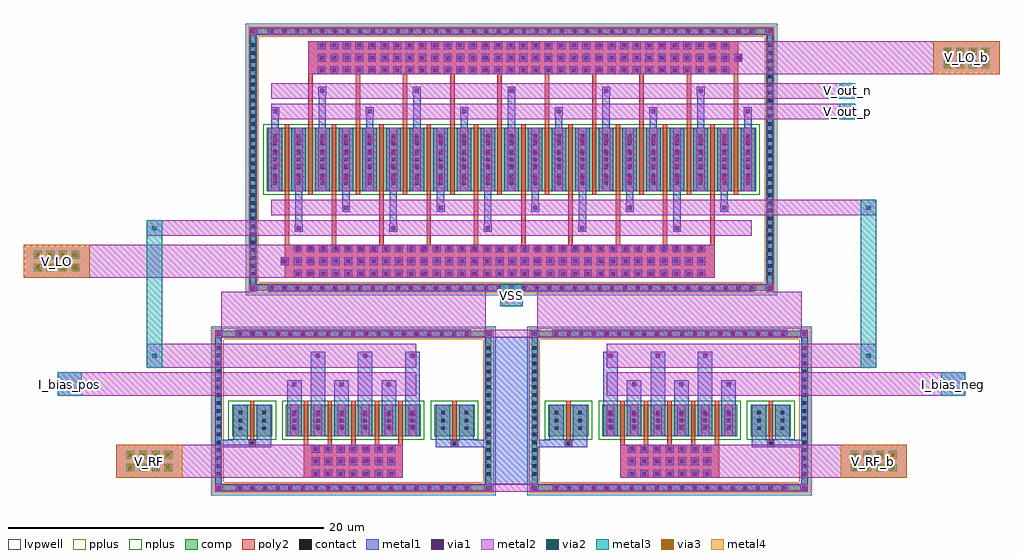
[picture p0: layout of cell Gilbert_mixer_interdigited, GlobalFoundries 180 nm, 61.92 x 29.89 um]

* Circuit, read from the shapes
.subckt Gilbert_mixer_interdigited I_bias_neg I_bias_pos VSS V_LO V_LO_b V_RF V_RF_b V_out_n V_out_p
XM1 VSS VSS VSS VSS nfet_03v3 w=2u l=0.28u m=4
XM2 n1 V_LO V_out_p VSS nfet_03v3 w=4u l=0.28u m=5
XM3 n1 V_RF I_bias_pos VSS nfet_03v3 w=2u l=0.28u m=5
XM4 V_out_n V_LO_b n1 VSS nfet_03v3 w=4u l=0.28u m=5
XM5 n2 V_LO V_out_n VSS nfet_03v3 w=4u l=0.28u m=5
XM6 V_out_p V_LO_b n2 VSS nfet_03v3 w=4u l=0.28u m=5
XM7 I_bias_neg V_RF_b n2 VSS nfet_03v3 w=2u l=0.28u m=5
.ends

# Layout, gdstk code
import gdstk
lib = gdstk.Library(unit=1e-6, precision=1e-09)
def R(c, l, rs):  # rectangles x0, y0, x1, y1
    for r in rs: c.add(gdstk.rectangle(r[:2], r[2:], *l))
def A(c, l, x, y, w, h, nx, ny, dx, dy):  # array of equal rectangles
    R(c, l, [(x+i*dx, y+j*dy, x+i*dx+w, y+j*dy+h) for i in range(nx) for j in range(ny)])
def P(c, l, *ps):  # polygons
    for p in ps: c.add(gdstk.Polygon(p, *l))
comp = (22, 0)
poly2 = (30, 0)
pplus = (31, 0)
nplus = (32, 0)
contact = (33, 0)
metal1 = (34, 0)
via1 = (35, 0)
metal2 = (36, 0)
via2 = (38, 0)
via3 = (40, 0)
metal3 = (42, 0)
metal4 = (46, 0)
lvpwell = (204, 0)

lo_diff_pairs_interdigit = lib.new_cell('LO_diff_pairs_interdigitized')
A(lo_diff_pairs_interdigit, comp, -15.38, -8.32, 0.36, 0.36, 39, 2, 0.8, 16.28)
A(lo_diff_pairs_interdigit, comp, -16.58, -7.43, 0.36, 0.36, 1, 30, 0, 0.5)
A(lo_diff_pairs_interdigit, comp, 16.22, -7.43, 0.36, 0.36, 1, 30, 0, 0.5)
R(lo_diff_pairs_interdigit, comp, [(-15.38,-8.32,15.38,-7.96), (-16.58,-7.43,-16.22,7.43), (16.22,-7.43,16.58,7.43), (-15.53,-2,15.53,2), (-15.38,7.96,15.38,8.32)])
P(lo_diff_pairs_interdigit, comp, [(16.58,8.32),(-16.58,8.32),(-16.58,-7.96),(-16.22,-7.96),(-16.22,7.96),(16.22,7.96),(16.22,-7.96),(-16.22,-7.96),(-16.58,-7.96),(-16.58,-8.32),(16.58,-8.32)])
A(lo_diff_pairs_interdigit, poly2, -13.73, -7.43, 0.36, 0.36, 33, 3, 0.8, 0.8)
A(lo_diff_pairs_interdigit, poly2, -14.39, -5.4, 0.28, 3.16, 10, 1, 3, 0)
A(lo_diff_pairs_interdigit, poly2, -14.39, -2.24, 0.28, 4.48, 20, 1, 1.5, 0)
A(lo_diff_pairs_interdigit, poly2, -12.89, 2.24, 0.28, 3.16, 10, 1, 3, 0)
A(lo_diff_pairs_interdigit, poly2, -12.23, 5.47, 0.36, 0.36, 33, 3, 0.8, 0.8)
R(lo_diff_pairs_interdigit, poly2, [(-14.39,-7.5,12.89,-5.4), (-12.89,5.4,14.39,7.5)])
P(lo_diff_pairs_interdigit, pplus, [(16.74,8.48),(-16.74,8.48),(-16.74,-7.8),(-16.06,-7.8),(-16.06,7.8),(16.06,7.8),(16.06,-7.8),(-16.06,-7.8),(-16.74,-7.8),(-16.74,-8.48),(16.74,-8.48)])
R(lo_diff_pairs_interdigit, nplus, [(-15.76,-2.23,15.76,2.23)])
A(lo_diff_pairs_interdigit, contact, -15.31, -8.25, 0.22, 0.22, 39, 2, 0.8, 16.28)
A(lo_diff_pairs_interdigit, contact, -16.51, -7.36, 0.22, 0.22, 1, 30, 0, 0.5)
A(lo_diff_pairs_interdigit, contact, -13.66, -7.36, 0.22, 0.22, 33, 3, 0.8, 0.8)
A(lo_diff_pairs_interdigit, contact, 16.29, -7.36, 0.22, 0.22, 1, 30, 0, 0.5)
A(lo_diff_pairs_interdigit, contact, -15.11, -1.61, 0.22, 0.22, 21, 7, 1.5, 0.5)
A(lo_diff_pairs_interdigit, contact, -12.16, 5.54, 0.22, 0.22, 33, 3, 0.8, 0.8)
A(lo_diff_pairs_interdigit, metal1, -15.45, -8.39, 0.5, 0.5, 39, 2, 0.8, 16.28)
A(lo_diff_pairs_interdigit, metal1, -13.8, -7.5, 0.5, 0.5, 33, 3, 0.8, 0.8)
A(lo_diff_pairs_interdigit, metal1, -16.63, -7.48, 0.46, 0.46, 1, 30, 0, 0.5)
A(lo_diff_pairs_interdigit, metal1, 16.17, -7.48, 0.46, 0.46, 1, 30, 0, 0.5)
A(lo_diff_pairs_interdigit, metal1, -13.75, -4.6, 0.5, 0.5, 5, 1, 6, 0)
A(lo_diff_pairs_interdigit, metal1, -13.73, -4.1, 0.46, 2.1, 5, 1, 6, 0)
A(lo_diff_pairs_interdigit, metal1, -10.75, -3.3, 0.5, 0.5, 5, 1, 6, 0)
A(lo_diff_pairs_interdigit, metal1, -10.73, -2.8, 0.46, 0.8, 5, 1, 6, 0)
A(lo_diff_pairs_interdigit, metal1, -15.46, -2, 0.92, 4, 21, 1, 1.5, 0)
A(lo_diff_pairs_interdigit, metal1, -15.23, -1.73, 0.46, 0.46, 21, 7, 1.5, 0.5)
A(lo_diff_pairs_interdigit, metal1, -15.25, -1.45, 0.5, 0.5, 21, 4, 1.5, 0.8)
A(lo_diff_pairs_interdigit, metal1, -15.25, -1.45, 0.5, 2.9, 21, 1, 1.5, 0)
A(lo_diff_pairs_interdigit, metal1, -15.23, 2, 0.46, 1.3, 6, 1, 6, 0)
A(lo_diff_pairs_interdigit, metal1, -12.23, 2, 0.46, 2.6, 5, 1, 6, 0)
A(lo_diff_pairs_interdigit, metal1, -15.25, 2.8, 0.5, 0.5, 6, 1, 6, 0)
A(lo_diff_pairs_interdigit, metal1, -12.25, 4.1, 0.5, 0.5, 5, 1, 6, 0)
A(lo_diff_pairs_interdigit, metal1, -12.3, 5.4, 0.5, 0.5, 33, 3, 0.8, 0.8)
R(lo_diff_pairs_interdigit, metal1, [(-16.63,-8.39,-16.13,-7.89), (-16.63,-8.39,-16.13,-7.89), (-16.63,-8.39,-16.17,-7.96), (-15.45,-8.39,15.45,-7.89), (16.13,-8.39,16.63,-7.89), (16.13,-8.39,16.63,-7.89), (16.17,-8.39,16.63,-7.96), (-16.63,-7.96,-16.17,7.96), (16.17,-7.96,16.63,7.96), (-16.63,7.89,-16.13,8.39), (-16.63,7.89,-16.13,8.39), (-15.45,7.89,15.45,8.39), (16.13,7.89,16.63,8.39), (16.13,7.89,16.63,8.39), (-16.63,7.96,-16.17,8.39), (16.17,7.96,16.63,8.39)])
A(lo_diff_pairs_interdigit, via1, -15.33, -8.27, 0.26, 0.26, 39, 2, 0.8, 16.28)
A(lo_diff_pairs_interdigit, via1, -13.68, -7.38, 0.26, 0.26, 33, 3, 0.8, 0.8)
A(lo_diff_pairs_interdigit, via1, -13.63, -4.48, 0.26, 0.26, 5, 1, 6, 0)
A(lo_diff_pairs_interdigit, via1, -10.63, -3.18, 0.26, 0.26, 5, 1, 6, 0)
A(lo_diff_pairs_interdigit, via1, -15.13, -1.33, 0.26, 0.26, 21, 4, 1.5, 0.8)
A(lo_diff_pairs_interdigit, via1, -15.13, 2.92, 0.26, 0.26, 6, 1, 6, 0)
A(lo_diff_pairs_interdigit, via1, -12.13, 4.22, 0.26, 0.26, 5, 1, 6, 0)
A(lo_diff_pairs_interdigit, via1, -12.18, 5.52, 0.26, 0.26, 33, 3, 0.8, 0.8)
R(lo_diff_pairs_interdigit, via1, [(-16.51,-8.27,-16.25,-8.01), (16.25,-8.27,16.51,-8.01), (-16.51,8.01,-16.25,8.27), (16.25,8.01,16.51,8.27)])
A(lo_diff_pairs_interdigit, metal2, -15.45, -8.39, 0.5, 0.5, 39, 2, 0.8, 16.28)
A(lo_diff_pairs_interdigit, metal2, -13.8, -7.5, 0.5, 0.5, 33, 3, 0.8, 0.8)
A(lo_diff_pairs_interdigit, metal2, -13.75, -4.6, 0.5, 0.5, 5, 1, 6, 0)
A(lo_diff_pairs_interdigit, metal2, -10.75, -3.3, 0.5, 0.5, 5, 1, 6, 0)
A(lo_diff_pairs_interdigit, metal2, -15.25, -2, 0.5, 4, 21, 1, 1.5, 0)
A(lo_diff_pairs_interdigit, metal2, -15.25, -1.45, 0.5, 0.5, 21, 4, 1.5, 0.8)
A(lo_diff_pairs_interdigit, metal2, -15.25, 2.8, 0.5, 0.5, 6, 1, 6, 0)
A(lo_diff_pairs_interdigit, metal2, -12.25, 4.1, 0.5, 0.5, 5, 1, 6, 0)
A(lo_diff_pairs_interdigit, metal2, -12.3, 5.4, 0.5, 0.5, 33, 3, 0.8, 0.8)
R(lo_diff_pairs_interdigit, metal2, [(-16.63,-8.39,-16.13,-7.89), (-16.63,-8.39,-16.13,-7.89), (-16.63,-8.39,-16.22,-7.89), (-16.22,-8.39,16.22,-7.89), (16.13,-8.39,16.63,-7.89), (16.13,-8.39,16.63,-7.89), (16.22,-8.39,16.63,-7.89), (-14.39,-7.5,12.89,-5.4), (-15.25,-4.85,15.25,-3.85), (-15.25,-3.55,15.25,-2.55), (-15.25,2.55,15.25,3.55), (-15.25,3.85,15.25,4.85), (-12.89,5.4,14.39,7.5), (-16.63,7.89,-16.13,8.39), (-16.63,7.89,-16.13,8.39), (-16.63,7.89,-16.22,8.39), (-16.22,7.89,16.22,8.39), (16.13,7.89,16.63,8.39), (16.13,7.89,16.63,8.39), (16.22,7.89,16.63,8.39)])
R(lo_diff_pairs_interdigit, lvpwell, [(-16.86,-8.6,16.86,8.6)])

rf_diff_pair_1 = lib.new_cell('RF_diff_pair$1')
A(rf_diff_pair_1, comp, -7.38, -5.065, 0.36, 0.36, 19, 2, 0.8, 9.77)
A(rf_diff_pair_1, comp, 12.68, -5.065, 0.36, 0.36, 19, 2, 0.8, 9.77)
A(rf_diff_pair_1, comp, -8.75, -4.18, 0.36, 0.36, 1, 17, 0, 0.5)
A(rf_diff_pair_1, comp, 8.39, -4.18, 0.36, 0.36, 1, 17, 0, 0.5)
A(rf_diff_pair_1, comp, 11.31, -4.18, 0.36, 0.36, 1, 17, 0, 0.5)
A(rf_diff_pair_1, comp, 28.45, -4.18, 0.36, 0.36, 1, 17, 0, 0.5)
R(rf_diff_pair_1, comp, [(-7.38,-5.065,7.38,-4.705), (12.68,-5.065,27.44,-4.705), (-8.75,-4.18,-8.39,4.18), (8.39,-4.18,8.75,4.18), (11.31,-4.18,11.67,4.18), (28.45,-4.18,28.81,4.18), (-7.7,-1.605,-5.14,0.395), (-4.28,-1.605,4.28,0.395), (5.14,-1.605,7.7,0.395), (12.36,-1.605,14.92,0.395), (15.78,-1.605,24.34,0.395), (25.2,-1.605,27.76,0.395), (-7.38,4.705,7.38,5.065), (12.68,4.705,27.44,5.065)])
P(rf_diff_pair_1, comp, [(8.75,5.065),(-8.75,5.065),(-8.75,-4.705),(-8.39,-4.705),(-8.39,4.705),(8.39,4.705),(8.39,-4.705),(-8.39,-4.705),(-8.75,-4.705),(-8.75,-5.065),(8.75,-5.065)],
  [(11.31,5.065),(28.81,5.065),(28.81,-4.705),(28.45,-4.705),(28.45,4.705),(11.67,4.705),(11.67,-4.705),(28.45,-4.705),(28.81,-4.705),(28.81,-5.065),(11.31,-5.065)])
A(rf_diff_pair_1, poly2, -2.58, -4.175, 0.36, 0.36, 7, 3, 0.8, 0.8)
A(rf_diff_pair_1, poly2, 17.48, -4.175, 0.36, 0.36, 7, 3, 0.8, 0.8)
A(rf_diff_pair_1, poly2, -3.14, -2.145, 0.28, 0.3, 5, 1, 1.5, 0)
A(rf_diff_pair_1, poly2, 16.92, -2.145, 0.28, 0.3, 5, 1, 1.5, 0)
A(rf_diff_pair_1, poly2, -3.14, -1.845, 0.28, 2.48, 5, 1, 1.5, 0)
A(rf_diff_pair_1, poly2, 16.92, -1.845, 0.28, 2.48, 5, 1, 1.5, 0)
R(rf_diff_pair_1, poly2, [(-3.14,-4.245,3.14,-2.145), (16.92,-4.245,23.2,-2.145), (-6.65,-2.305,-6.19,-1.845), (6.19,-2.305,6.65,-1.845), (13.41,-2.305,13.87,-1.845), (26.25,-2.305,26.71,-1.845), (-6.6,-2.255,-6.24,-1.895), (6.24,-2.255,6.6,-1.895), (13.46,-2.255,13.82,-1.895), (26.3,-2.255,26.66,-1.895), (-6.56,-1.845,-6.28,0.635), (6.28,-1.845,6.56,0.635), (13.5,-1.845,13.78,0.635), (26.34,-1.845,26.62,0.635)])
P(rf_diff_pair_1, pplus, [(8.91,5.225),(-8.91,5.225),(-8.91,-4.545),(-8.23,-4.545),(-8.23,4.545),(8.23,4.545),(8.23,-4.545),(-8.23,-4.545),(-8.91,-4.545),(-8.91,-5.225),(8.91,-5.225)],
  [(11.15,5.225),(28.97,5.225),(28.97,-4.545),(28.29,-4.545),(28.29,4.545),(11.83,4.545),(11.83,-4.545),(28.29,-4.545),(28.97,-4.545),(28.97,-5.225),(11.15,-5.225)])
R(rf_diff_pair_1, nplus, [(-7.93,-1.835,-4.91,0.625), (-4.51,-1.835,4.51,0.625), (4.91,-1.835,7.93,0.625), (12.13,-1.835,15.15,0.625), (15.55,-1.835,24.57,0.625), (24.97,-1.835,27.99,0.625)])
A(rf_diff_pair_1, contact, -7.31, -4.995, 0.22, 0.22, 19, 2, 0.8, 9.77)
A(rf_diff_pair_1, contact, 12.75, -4.995, 0.22, 0.22, 19, 2, 0.8, 9.77)
A(rf_diff_pair_1, contact, -8.68, -4.11, 0.22, 0.22, 1, 17, 0, 0.5)
A(rf_diff_pair_1, contact, 8.46, -4.11, 0.22, 0.22, 1, 17, 0, 0.5)
A(rf_diff_pair_1, contact, 11.38, -4.11, 0.22, 0.22, 1, 17, 0, 0.5)
A(rf_diff_pair_1, contact, 28.52, -4.11, 0.22, 0.22, 1, 17, 0, 0.5)
A(rf_diff_pair_1, contact, -2.51, -4.105, 0.22, 0.22, 7, 3, 0.8, 0.8)
A(rf_diff_pair_1, contact, 17.55, -4.105, 0.22, 0.22, 7, 3, 0.8, 0.8)
A(rf_diff_pair_1, contact, -7.28, -1.215, 0.22, 0.22, 1, 3, 0, 0.5)
A(rf_diff_pair_1, contact, -5.78, -1.215, 0.22, 0.22, 1, 3, 0, 0.5)
A(rf_diff_pair_1, contact, -3.86, -1.215, 0.22, 0.22, 6, 3, 1.5, 0.5)
A(rf_diff_pair_1, contact, 5.56, -1.215, 0.22, 0.22, 1, 3, 0, 0.5)
A(rf_diff_pair_1, contact, 7.06, -1.215, 0.22, 0.22, 1, 3, 0, 0.5)
A(rf_diff_pair_1, contact, 12.78, -1.215, 0.22, 0.22, 1, 3, 0, 0.5)
A(rf_diff_pair_1, contact, 14.28, -1.215, 0.22, 0.22, 1, 3, 0, 0.5)
A(rf_diff_pair_1, contact, 16.2, -1.215, 0.22, 0.22, 6, 3, 1.5, 0.5)
A(rf_diff_pair_1, contact, 25.62, -1.215, 0.22, 0.22, 1, 3, 0, 0.5)
A(rf_diff_pair_1, contact, 27.12, -1.215, 0.22, 0.22, 1, 3, 0, 0.5)
R(rf_diff_pair_1, contact, [(-6.53,-2.185,-6.31,-1.965), (6.31,-2.185,6.53,-1.965), (13.53,-2.185,13.75,-1.965), (26.37,-2.185,26.59,-1.965)])
A(rf_diff_pair_1, metal1, -7.45, -5.135, 0.5, 0.5, 19, 2, 0.8, 9.77)
A(rf_diff_pair_1, metal1, 12.61, -5.135, 0.5, 0.5, 19, 2, 0.8, 9.77)
A(rf_diff_pair_1, metal1, -2.65, -4.245, 0.5, 0.5, 7, 3, 0.8, 0.8)
A(rf_diff_pair_1, metal1, 17.41, -4.245, 0.5, 0.5, 7, 3, 0.8, 0.8)
A(rf_diff_pair_1, metal1, -8.8, -4.23, 0.46, 0.46, 1, 17, 0, 0.5)
A(rf_diff_pair_1, metal1, 8.34, -4.23, 0.46, 0.46, 1, 17, 0, 0.5)
A(rf_diff_pair_1, metal1, 11.26, -4.23, 0.46, 0.46, 1, 17, 0, 0.5)
A(rf_diff_pair_1, metal1, 28.4, -4.23, 0.46, 0.46, 1, 17, 0, 0.5)
A(rf_diff_pair_1, metal1, -4.21, -1.605, 0.92, 2, 6, 1, 1.5, 0)
A(rf_diff_pair_1, metal1, 15.85, -1.605, 0.92, 2, 6, 1, 1.5, 0)
A(rf_diff_pair_1, metal1, -7.4, -1.335, 0.46, 0.46, 1, 3, 0, 0.5)
A(rf_diff_pair_1, metal1, -5.9, -1.335, 0.46, 0.46, 1, 3, 0, 0.5)
A(rf_diff_pair_1, metal1, -3.98, -1.335, 0.46, 0.46, 6, 3, 1.5, 0.5)
A(rf_diff_pair_1, metal1, 5.44, -1.335, 0.46, 0.46, 1, 3, 0, 0.5)
A(rf_diff_pair_1, metal1, 6.94, -1.335, 0.46, 0.46, 1, 3, 0, 0.5)
A(rf_diff_pair_1, metal1, 12.66, -1.335, 0.46, 0.46, 1, 3, 0, 0.5)
A(rf_diff_pair_1, metal1, 14.16, -1.335, 0.46, 0.46, 1, 3, 0, 0.5)
A(rf_diff_pair_1, metal1, 16.08, -1.335, 0.46, 0.46, 6, 3, 1.5, 0.5)
A(rf_diff_pair_1, metal1, 25.5, -1.335, 0.46, 0.46, 1, 3, 0, 0.5)
A(rf_diff_pair_1, metal1, 27, -1.335, 0.46, 0.46, 1, 3, 0, 0.5)
A(rf_diff_pair_1, metal1, -4, -1.255, 0.5, 0.5, 6, 2, 1.5, 0.8)
A(rf_diff_pair_1, metal1, -4, -1.255, 0.5, 1.3, 6, 1, 1.5, 0)
A(rf_diff_pair_1, metal1, 16.06, -1.255, 0.5, 0.5, 6, 2, 1.5, 0.8)
A(rf_diff_pair_1, metal1, 16.06, -1.255, 0.5, 1.3, 6, 1, 1.5, 0)
A(rf_diff_pair_1, metal1, -4.21, 0.395, 0.92, 1.55, 3, 1, 3, 0)
A(rf_diff_pair_1, metal1, -2.71, 0.395, 0.92, 3.35, 3, 1, 3, 0)
A(rf_diff_pair_1, metal1, 15.85, 0.395, 0.92, 3.35, 3, 1, 3, 0)
A(rf_diff_pair_1, metal1, 17.35, 0.395, 0.92, 1.55, 3, 1, 3, 0)
A(rf_diff_pair_1, metal1, -4, 1.445, 0.5, 0.5, 3, 1, 3, 0)
A(rf_diff_pair_1, metal1, 17.56, 1.445, 0.5, 0.5, 3, 1, 3, 0)
A(rf_diff_pair_1, metal1, -2.5, 3.245, 0.5, 0.5, 3, 1, 3, 0)
A(rf_diff_pair_1, metal1, 16.06, 3.245, 0.5, 0.5, 3, 1, 3, 0)
R(rf_diff_pair_1, metal1, [(-8.8,-5.135,-8.3,-4.635), (-8.8,-5.135,-8.3,-4.635), (-8.8,-5.135,-8.34,-4.705), (-7.45,-5.135,7.45,-4.635), (8.3,-5.135,8.8,-4.635), (8.3,-5.135,8.8,-4.635), (8.34,-5.135,8.8,-4.705), (11.26,-5.135,11.76,-4.635), (11.26,-5.135,11.76,-4.635), (11.26,-5.135,11.72,-4.705), (12.61,-5.135,27.51,-4.635), (28.36,-5.135,28.86,-4.635), (28.36,-5.135,28.86,-4.635), (28.4,-5.135,28.86,-4.705), (-8.8,-4.705,-8.34,4.705), (8.34,-4.705,8.8,4.705), (11.26,-4.705,11.72,4.705), (28.4,-4.705,28.86,4.705), (-8.8,-2.305,-6.65,-1.845), (-7.63,-2.305,-6.65,-1.845), (-7.63,-2.305,-6.71,-1.605), (-6.65,-2.305,-6.19,-1.845), (-6.19,-2.305,-5.21,-1.845), (-6.13,-2.305,-5.21,-1.605), (5.21,-2.305,6.19,-1.845), (5.21,-2.305,6.13,-1.605), (6.19,-2.305,6.65,-1.845), (6.19,-2.305,8.8,-1.845), (6.65,-2.305,7.63,-1.845), (6.71,-2.305,7.63,-1.605), (11.26,-2.305,13.87,-1.845), (12.43,-2.305,13.41,-1.845), (12.43,-2.305,13.35,-1.605), (13.41,-2.305,13.87,-1.845), (13.87,-2.305,14.85,-1.845), (13.93,-2.305,14.85,-1.605), (25.27,-2.305,26.25,-1.845), (25.27,-2.305,26.19,-1.605), (26.25,-2.305,26.71,-1.845), (26.71,-2.305,27.69,-1.845), (26.71,-2.305,28.86,-1.845), (26.77,-2.305,27.69,-1.605), (-7.63,-1.605,-6.71,0.395), (-6.13,-1.605,-5.21,0.395), (5.21,-1.605,6.13,0.395), (6.71,-1.605,7.63,0.395), (12.43,-1.605,13.35,0.395), (13.93,-1.605,14.85,0.395), (25.27,-1.605,26.19,0.395), (26.77,-1.605,27.69,0.395), (-8.8,4.635,-8.3,5.135), (-8.8,4.635,-8.3,5.135), (-7.45,4.635,7.45,5.135), (8.3,4.635,8.8,5.135), (8.3,4.635,8.8,5.135), (11.26,4.635,11.76,5.135), (11.26,4.635,11.76,5.135), (12.61,4.635,27.51,5.135), (28.36,4.635,28.86,5.135), (28.36,4.635,28.86,5.135), (-8.8,4.705,-8.34,5.135), (8.34,4.705,8.8,5.135), (11.26,4.705,11.72,5.135), (28.4,4.705,28.86,5.135)])
A(rf_diff_pair_1, via1, -7.33, -5.015, 0.26, 0.26, 19, 2, 0.8, 9.77)
A(rf_diff_pair_1, via1, 12.73, -5.015, 0.26, 0.26, 19, 2, 0.8, 9.77)
A(rf_diff_pair_1, via1, -2.53, -4.125, 0.26, 0.26, 7, 3, 0.8, 0.8)
A(rf_diff_pair_1, via1, 17.53, -4.125, 0.26, 0.26, 7, 3, 0.8, 0.8)
A(rf_diff_pair_1, via1, -3.88, -1.135, 0.26, 0.26, 6, 2, 1.5, 0.8)
A(rf_diff_pair_1, via1, 16.18, -1.135, 0.26, 0.26, 6, 2, 1.5, 0.8)
A(rf_diff_pair_1, via1, -3.88, 1.565, 0.26, 0.26, 3, 1, 3, 0)
A(rf_diff_pair_1, via1, 17.68, 1.565, 0.26, 0.26, 3, 1, 3, 0)
A(rf_diff_pair_1, via1, -2.38, 3.365, 0.26, 0.26, 3, 1, 3, 0)
A(rf_diff_pair_1, via1, 16.18, 3.365, 0.26, 0.26, 3, 1, 3, 0)
R(rf_diff_pair_1, via1, [(-8.68,-5.015,-8.42,-4.755), (8.42,-5.015,8.68,-4.755), (11.38,-5.015,11.64,-4.755), (28.48,-5.015,28.74,-4.755), (-8.68,4.755,-8.42,5.015), (8.42,4.755,8.68,5.015), (11.38,4.755,11.64,5.015), (28.48,4.755,28.74,5.015)])
A(rf_diff_pair_1, metal2, -7.45, -5.135, 0.5, 0.5, 19, 2, 0.8, 9.77)
A(rf_diff_pair_1, metal2, 12.61, -5.135, 0.5, 0.5, 19, 2, 0.8, 9.77)
A(rf_diff_pair_1, metal2, -2.65, -4.245, 0.5, 0.5, 7, 3, 0.8, 0.8)
A(rf_diff_pair_1, metal2, 17.41, -4.245, 0.5, 0.5, 7, 3, 0.8, 0.8)
A(rf_diff_pair_1, metal2, -4, -1.605, 0.5, 2, 6, 1, 1.5, 0)
A(rf_diff_pair_1, metal2, 16.06, -1.605, 0.5, 2, 6, 1, 1.5, 0)
A(rf_diff_pair_1, metal2, -4, -1.255, 0.5, 0.5, 6, 2, 1.5, 0.8)
A(rf_diff_pair_1, metal2, 16.06, -1.255, 0.5, 0.5, 6, 2, 1.5, 0.8)
A(rf_diff_pair_1, metal2, -4, 1.445, 0.5, 0.5, 3, 1, 3, 0)
A(rf_diff_pair_1, metal2, 17.56, 1.445, 0.5, 0.5, 3, 1, 3, 0)
A(rf_diff_pair_1, metal2, -2.5, 3.245, 0.5, 0.5, 3, 1, 3, 0)
A(rf_diff_pair_1, metal2, 16.06, 3.245, 0.5, 0.5, 3, 1, 3, 0)
R(rf_diff_pair_1, metal2, [(-8.8,-5.135,-8.3,-4.635), (-8.8,-5.135,-8.3,-4.635), (-8.8,-5.135,-8.39,-4.635), (-8.39,-5.135,8.39,-4.635), (8.3,-5.135,8.8,-4.635), (8.3,-5.135,8.8,-4.635), (8.39,-5.135,8.8,-4.635), (11.26,-5.135,11.76,-4.635), (11.26,-5.135,11.76,-4.635), (11.26,-5.135,11.67,-4.635), (11.67,-5.135,28.45,-4.635), (28.36,-5.135,28.86,-4.635), (28.36,-5.135,28.86,-4.635), (28.45,-5.135,28.86,-4.635), (-3.14,-4.245,3.14,-2.145), (16.92,-4.245,23.2,-2.145), (-4,0.945,4,2.445), (16.06,0.945,24.06,2.445), (-4,2.745,4,4.245), (16.06,2.745,24.06,4.245), (-8.8,4.635,-8.3,5.135), (-8.8,4.635,-8.3,5.135), (-8.8,4.635,-8.39,5.135), (-8.39,4.635,8.39,5.135), (8.3,4.635,8.8,5.135), (8.3,4.635,8.8,5.135), (8.39,4.635,8.8,5.135), (11.26,4.635,11.76,5.135), (11.26,4.635,11.76,5.135), (11.26,4.635,11.67,5.135), (11.67,4.635,28.45,5.135), (28.36,4.635,28.86,5.135), (28.36,4.635,28.86,5.135), (28.45,4.635,28.86,5.135)])
R(rf_diff_pair_1, lvpwell, [(-9.03,-5.345,9.03,5.345), (11.03,-5.345,29.09,5.345)])

straight_route_9fc778ee = lib.new_cell('straight_route_9fc778ee')
R(straight_route_9fc778ee, metal1, [(-1.23,-20.65,1.69,-11.24)])

straight_route_b8e4b92a = lib.new_cell('straight_route_b8e4b92a')
R(straight_route_b8e4b92a, metal2, [(-18.42,-10.81,-1.64,-8.39)])

straight_route_c783c507 = lib.new_cell('straight_route_c783c507')
R(straight_route_c783c507, metal2, [(1.64,-10.81,18.42,-8.39)])

straight_route_937a5450 = lib.new_cell('straight_route_937a5450')
R(straight_route_937a5450, metal2, [(-1.64,-11.31,1.64,-10.81)])

straight_route_88d8c9bf = lib.new_cell('straight_route_88d8c9bf')
R(straight_route_88d8c9bf, metal2, [(-1.64,-21.08,1.64,-20.58)])

via_array_21e32495 = lib.new_cell('via_array_21e32495')
R(via_array_21e32495, metal2, [(-0.71,-0.71,0.71,0.71), (-0.25,-0.25,0.25,0.25)])
R(via_array_21e32495, via2, [(-0.13,-0.13,0.13,0.13)])
R(via_array_21e32495, metal3, [(-0.71,-0.71,0.71,0.71), (-0.25,-0.25,0.25,0.25)])

via_array_6f2c13fe = lib.new_cell('via_array_6f2c13fe')
R(via_array_6f2c13fe, metal2, [(-0.5,-0.5,0.5,0.5), (-0.25,-0.25,0.25,0.25)])
R(via_array_6f2c13fe, via2, [(-0.13,-0.13,0.13,0.13)])
R(via_array_6f2c13fe, metal3, [(-0.5,-0.5,0.5,0.5), (-0.25,-0.25,0.25,0.25)])

via_array_6f2c13fe_1 = lib.new_cell('via_array_6f2c13fe$1')
R(via_array_6f2c13fe_1, metal2, [(-0.5,-0.5,0.5,0.5), (-0.25,-0.25,0.25,0.25)])
R(via_array_6f2c13fe_1, via2, [(-0.13,-0.13,0.13,0.13)])
R(via_array_6f2c13fe_1, metal3, [(-0.5,-0.5,0.5,0.5), (-0.25,-0.25,0.25,0.25)])

via_array_6f2c13fe_2 = lib.new_cell('via_array_6f2c13fe$2')
R(via_array_6f2c13fe_2, metal2, [(-0.5,-0.5,0.5,0.5), (-0.25,-0.25,0.25,0.25)])
R(via_array_6f2c13fe_2, via2, [(-0.13,-0.13,0.13,0.13)])
R(via_array_6f2c13fe_2, metal3, [(-0.5,-0.5,0.5,0.5), (-0.25,-0.25,0.25,0.25)])

via_array_6f2c13fe_3 = lib.new_cell('via_array_6f2c13fe$3')
R(via_array_6f2c13fe_3, metal2, [(-0.5,-0.5,0.5,0.5), (-0.25,-0.25,0.25,0.25)])
R(via_array_6f2c13fe_3, via2, [(-0.13,-0.13,0.13,0.13)])
R(via_array_6f2c13fe_3, metal3, [(-0.5,-0.5,0.5,0.5), (-0.25,-0.25,0.25,0.25)])

straight_route_ee2cbeb6 = lib.new_cell('straight_route_ee2cbeb6')
R(straight_route_ee2cbeb6, metal2, [(-22.15,-4.85,-15.25,-3.85)])

straight_route_67cfd824 = lib.new_cell('straight_route_67cfd824')
R(straight_route_67cfd824, metal2, [(15.25,-3.55,23.15,-2.55)])

straight_route_eaf86bfa = lib.new_cell('straight_route_eaf86bfa')
R(straight_route_eaf86bfa, metal2, [(15.25,2.55,21.82,3.55)])

straight_route_508b4dcb = lib.new_cell('straight_route_508b4dcb')
R(straight_route_508b4dcb, metal2, [(15.25,3.85,21.82,4.85)])

via_array_286f19cb = lib.new_cell('via_array_286f19cb')
A(via_array_286f19cb, metal2, -1.45, -0.65, 0.5, 0.5, 4, 2, 0.8, 0.8)
R(via_array_286f19cb, metal2, [(-2.1,-1.05,2.1,1.05)])
A(via_array_286f19cb, via2, -1.33, -0.53, 0.26, 0.26, 4, 2, 0.8, 0.8)
A(via_array_286f19cb, via3, -1.33, -0.53, 0.26, 0.26, 4, 2, 0.8, 0.8)
A(via_array_286f19cb, metal3, -1.45, -0.65, 0.5, 0.5, 4, 2, 0.8, 0.8)
A(via_array_286f19cb, metal4, -1.45, -0.65, 0.5, 0.5, 4, 2, 0.8, 0.8)
R(via_array_286f19cb, metal4, [(-2.1,-1.05,2.1,1.05)])

via_array_286f19cb_1 = lib.new_cell('via_array_286f19cb$1')
A(via_array_286f19cb_1, metal2, -1.45, -0.65, 0.5, 0.5, 4, 2, 0.8, 0.8)
R(via_array_286f19cb_1, metal2, [(-2.1,-1.05,2.1,1.05)])
A(via_array_286f19cb_1, via2, -1.33, -0.53, 0.26, 0.26, 4, 2, 0.8, 0.8)
A(via_array_286f19cb_1, via3, -1.33, -0.53, 0.26, 0.26, 4, 2, 0.8, 0.8)
A(via_array_286f19cb_1, metal3, -1.45, -0.65, 0.5, 0.5, 4, 2, 0.8, 0.8)
A(via_array_286f19cb_1, metal4, -1.45, -0.65, 0.5, 0.5, 4, 2, 0.8, 0.8)
R(via_array_286f19cb_1, metal4, [(-2.1,-1.05,2.1,1.05)])

straight_route_e3cca96a = lib.new_cell('straight_route_e3cca96a')
R(straight_route_e3cca96a, poly2, [(-14.57,-6.63,-14.21,-6.27)])
R(straight_route_e3cca96a, contact, [(-14.5,-6.56,-14.28,-6.34)])
R(straight_route_e3cca96a, metal1, [(-14.64,-6.7,-14.14,-6.2)])
R(straight_route_e3cca96a, via1, [(-14.52,-6.58,-14.26,-6.32)])
R(straight_route_e3cca96a, metal2, [(-30.96,-7.5,-14.39,-5.4), (-14.64,-6.7,-14.14,-6.2)])

straight_route_01b8a97c = lib.new_cell('straight_route_01b8a97c')
R(straight_route_01b8a97c, poly2, [(14.21,6.27,14.57,6.63)])
R(straight_route_01b8a97c, contact, [(14.28,6.34,14.5,6.56)])
R(straight_route_01b8a97c, metal1, [(14.14,6.2,14.64,6.7)])
R(straight_route_01b8a97c, via1, [(14.26,6.32,14.52,6.58)])
R(straight_route_01b8a97c, metal2, [(14.39,5.4,26.76,7.5), (14.14,6.2,14.64,6.7)])

via_array_286f19cb_2 = lib.new_cell('via_array_286f19cb$2')
A(via_array_286f19cb_2, metal2, -1.45, -0.65, 0.5, 0.5, 4, 2, 0.8, 0.8)
R(via_array_286f19cb_2, metal2, [(-2.1,-1.05,2.1,1.05)])
A(via_array_286f19cb_2, via2, -1.33, -0.53, 0.26, 0.26, 4, 2, 0.8, 0.8)
A(via_array_286f19cb_2, via3, -1.33, -0.53, 0.26, 0.26, 4, 2, 0.8, 0.8)
A(via_array_286f19cb_2, metal3, -1.45, -0.65, 0.5, 0.5, 4, 2, 0.8, 0.8)
A(via_array_286f19cb_2, metal4, -1.45, -0.65, 0.5, 0.5, 4, 2, 0.8, 0.8)
R(via_array_286f19cb_2, metal4, [(-2.1,-1.05,2.1,1.05)])

via_array_286f19cb_3 = lib.new_cell('via_array_286f19cb$3')
A(via_array_286f19cb_3, metal2, -1.45, -0.65, 0.5, 0.5, 4, 2, 0.8, 0.8)
R(via_array_286f19cb_3, metal2, [(-2.1,-1.05,2.1,1.05)])
A(via_array_286f19cb_3, via2, -1.33, -0.53, 0.26, 0.26, 4, 2, 0.8, 0.8)
A(via_array_286f19cb_3, via3, -1.33, -0.53, 0.26, 0.26, 4, 2, 0.8, 0.8)
A(via_array_286f19cb_3, metal3, -1.45, -0.65, 0.5, 0.5, 4, 2, 0.8, 0.8)
A(via_array_286f19cb_3, metal4, -1.45, -0.65, 0.5, 0.5, 4, 2, 0.8, 0.8)
R(via_array_286f19cb_3, metal4, [(-2.1,-1.05,2.1,1.05)])

via_array_540e7000 = lib.new_cell('via_array_540e7000')
R(via_array_540e7000, metal2, [(-0.75,-0.75,0.75,0.75), (-0.25,-0.25,0.25,0.25)])
R(via_array_540e7000, via2, [(-0.13,-0.13,0.13,0.13)])
R(via_array_540e7000, metal3, [(-0.75,-0.75,0.75,0.75), (-0.25,-0.25,0.25,0.25)])

via_array_540e7000_1 = lib.new_cell('via_array_540e7000$1')
R(via_array_540e7000_1, metal2, [(-0.75,-0.75,0.75,0.75), (-0.25,-0.25,0.25,0.25)])
R(via_array_540e7000_1, via2, [(-0.13,-0.13,0.13,0.13)])
R(via_array_540e7000_1, metal3, [(-0.75,-0.75,0.75,0.75), (-0.25,-0.25,0.25,0.25)])

straight_route_b967811f = lib.new_cell('straight_route_b967811f')
R(straight_route_b967811f, metal2, [(-28.78,-15,-14.03,-13.5)])

straight_route_477e1793 = lib.new_cell('straight_route_477e1793')
R(straight_route_477e1793, metal2, [(14.03,-15,27.28,-13.5)])

straight_route_1f1cc0de = lib.new_cell('straight_route_1f1cc0de')
R(straight_route_1f1cc0de, metal2, [(-25.08,-20.19,-12.43,-18.09)])

straight_route_ddc293fa = lib.new_cell('straight_route_ddc293fa')
R(straight_route_ddc293fa, metal2, [(12.43,-20.19,20.88,-18.09)])

l_route_a3b76d9e = lib.new_cell('L_route_a3b76d9e')
R(l_route_a3b76d9e, metal2, [(-23.15,-13.2,-14.03,-11.7), (-22.9,-12.7,-22.4,-12.2), (-22.9,-12.7,-22.4,-12.2)])
R(l_route_a3b76d9e, via2, [(-22.78,-12.58,-22.52,-12.32)])
R(l_route_a3b76d9e, metal3, [(-23.15,-13.2,-22.15,-11.7), (-23.15,-13.2,-22.15,-4.85), (-22.9,-12.7,-22.4,-12.2)])

l_route_a99cdad3 = lib.new_cell('L_route_a99cdad3')
R(l_route_a99cdad3, metal2, [(14.03,-13.2,23.15,-11.7), (22.4,-12.7,22.9,-12.2), (22.4,-12.7,22.9,-12.2)])
R(l_route_a99cdad3, via2, [(22.52,-12.58,22.78,-12.32)])
R(l_route_a99cdad3, metal3, [(22.15,-13.2,23.15,-11.7), (22.15,-13.2,23.15,-3.55), (22.4,-12.7,22.9,-12.2)])

gilbert_mixer_interdigit = lib.new_cell('Gilbert_mixer_interdigited')
gilbert_mixer_interdigit.add(gdstk.Reference(lo_diff_pairs_interdigit, (0,0)))
gilbert_mixer_interdigit.add(gdstk.Reference(rf_diff_pair_1, (-10.03,-15.945)))
gilbert_mixer_interdigit.add(gdstk.Reference(straight_route_9fc778ee, (0,0)))
gilbert_mixer_interdigit.add(gdstk.Reference(straight_route_b8e4b92a, (0,0)))
gilbert_mixer_interdigit.add(gdstk.Reference(straight_route_c783c507, (0,0)))
gilbert_mixer_interdigit.add(gdstk.Reference(straight_route_937a5450, (0,0)))
gilbert_mixer_interdigit.add(gdstk.Reference(straight_route_88d8c9bf, (0,0)))
gilbert_mixer_interdigit.add(gdstk.Reference(via_array_21e32495, (0,-8.6)))
gilbert_mixer_interdigit.add(gdstk.Reference(via_array_6f2c13fe, (-22.65,-4.35)))
gilbert_mixer_interdigit.add(gdstk.Reference(via_array_6f2c13fe_1, (22.65,-3.05)))
gilbert_mixer_interdigit.add(gdstk.Reference(via_array_6f2c13fe_2, (21.32,3.05)))
gilbert_mixer_interdigit.add(gdstk.Reference(via_array_6f2c13fe_3, (21.32,4.35)))
gilbert_mixer_interdigit.add(gdstk.Reference(straight_route_ee2cbeb6, (0,0)))
gilbert_mixer_interdigit.add(gdstk.Reference(straight_route_67cfd824, (0,0)))
gilbert_mixer_interdigit.add(gdstk.Reference(straight_route_eaf86bfa, (0,0)))
gilbert_mixer_interdigit.add(gdstk.Reference(straight_route_508b4dcb, (0,0)))
gilbert_mixer_interdigit.add(gdstk.Reference(via_array_286f19cb, (-28.86,-6.45)))
gilbert_mixer_interdigit.add(gdstk.Reference(via_array_286f19cb_1, (28.86,6.45)))
gilbert_mixer_interdigit.add(gdstk.Reference(straight_route_e3cca96a, (0,0)))
gilbert_mixer_interdigit.add(gdstk.Reference(straight_route_01b8a97c, (0,0)))
gilbert_mixer_interdigit.add(gdstk.Reference(via_array_286f19cb_2, (-22.98,-19.14)))
gilbert_mixer_interdigit.add(gdstk.Reference(via_array_286f19cb_3, (22.98,-19.14)))
gilbert_mixer_interdigit.add(gdstk.Reference(via_array_540e7000, (-28.03,-14.25)))
gilbert_mixer_interdigit.add(gdstk.Reference(via_array_540e7000_1, (28.03,-14.25)))
gilbert_mixer_interdigit.add(gdstk.Reference(straight_route_b967811f, (0,0)))
gilbert_mixer_interdigit.add(gdstk.Reference(straight_route_477e1793, (0,0)))
gilbert_mixer_interdigit.add(gdstk.Reference(straight_route_1f1cc0de, (0,0)))
gilbert_mixer_interdigit.add(gdstk.Reference(straight_route_ddc293fa, (0,0)))
gilbert_mixer_interdigit.add(gdstk.Reference(l_route_a3b76d9e, (0,0)))
gilbert_mixer_interdigit.add(gdstk.Reference(l_route_a99cdad3, (0,0)))
gilbert_mixer_interdigit.add(gdstk.Label('VSS', (0,-8.6), layer=42, texttype=10))
gilbert_mixer_interdigit.add(gdstk.Label('I_bias_pos', (-28.03,-14.25), layer=42, texttype=10))
gilbert_mixer_interdigit.add(gdstk.Label('I_bias_neg', (28.03,-14.25), layer=42, texttype=10))
gilbert_mixer_interdigit.add(gdstk.Label('V_out_p', (21.32,3.05), layer=42, texttype=10))
gilbert_mixer_interdigit.add(gdstk.Label('V_out_n', (21.32,4.35), layer=42, texttype=10))
gilbert_mixer_interdigit.add(gdstk.Label('V_LO', (-28.86,-6.45), layer=46, texttype=10))
gilbert_mixer_interdigit.add(gdstk.Label('V_LO_b', (28.86,6.45), layer=46, texttype=10))
gilbert_mixer_interdigit.add(gdstk.Label('V_RF', (-22.98,-19.14), layer=46, texttype=10))
gilbert_mixer_interdigit.add(gdstk.Label('V_RF_b', (22.98,-19.14), layer=46, texttype=10))

lib.write_gds('Gilbert_mixer_interdigited.gds')
